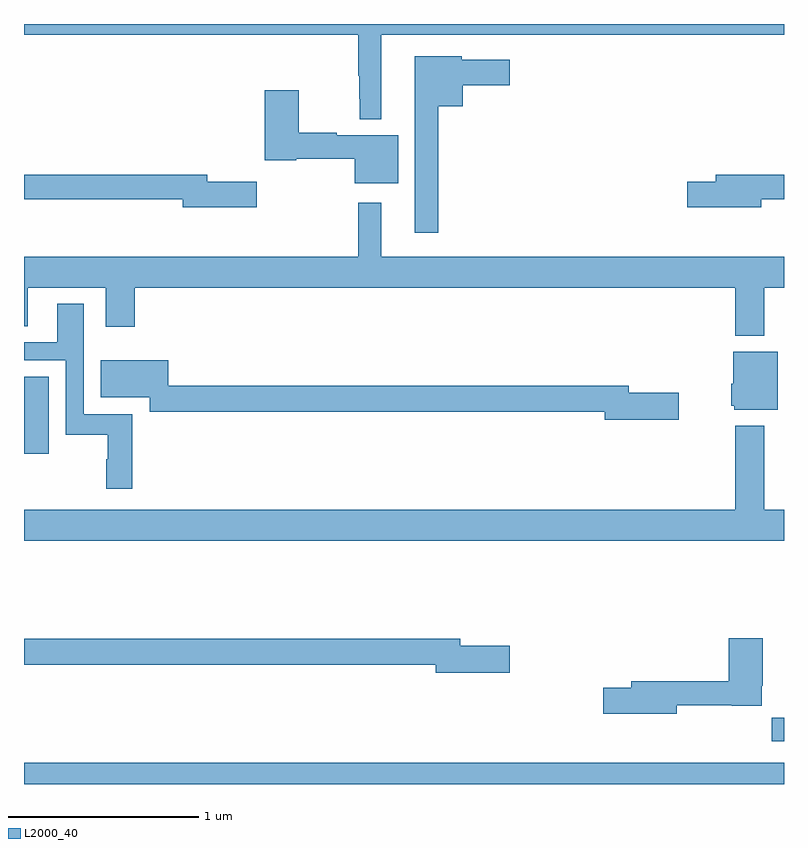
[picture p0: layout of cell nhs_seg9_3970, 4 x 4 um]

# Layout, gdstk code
import gdstk
lib = gdstk.Library(unit=1e-6, precision=1e-09)
def R(c, l, rs):  # rectangles x0, y0, x1, y1
    for r in rs: c.add(gdstk.rectangle(r[:2], r[2:], *l))
def P(c, l, *ps):  # polygons
    for p in ps: c.add(gdstk.Polygon(p, *l))
L2000_40 = (2000, 40)

nhs_seg9_3970 = lib.new_cell('nhs_seg9_3970')
R(nhs_seg9_3970, L2000_40, [(339,1168.5,343,1168.612), (342.936,1168.724,343,1168.85), (339,1170.237,339.13,1170.644)])
P(nhs_seg9_3970, L2000_40, [(340.879,1172.444),(343,1172.444),(343,1172.5),(339,1172.5),(339,1172.444),(340.758,1172.444),(340.758,1172.228),(340.765,1172.228),(340.765,1172.107),(340.768,1172.107),(340.768,1172),(340.879,1172)],
  [(341.179,1172.066),(341.308,1172.066),(341.308,1172.177),(341.557,1172.177),(341.557,1172.311),(341.304,1172.311),(341.304,1172.329),(341.057,1172.329),(341.057,1171.401),(341.179,1171.401)],
  [(340.969,1171.915),(340.646,1171.915),(340.646,1171.928),(340.446,1171.928),(340.446,1172.152),(340.268,1172.152),(340.268,1171.784),(340.434,1171.784),(340.434,1171.792),(340.742,1171.792),(340.742,1171.661),(340.969,1171.661)],
  [(342.88,1171.578),(343,1171.578),(343,1171.706),(342.641,1171.706),(342.641,1171.67),(342.492,1171.67),(342.492,1171.535),(342.88,1171.535)],
  [(340.225,1171.67),(339.964,1171.67),(339.964,1171.706),(339,1171.706),(339,1171.578),(339.836,1171.578),(339.836,1171.535),(340.225,1171.535)],
  [(342.895,1171.112),(343,1171.112),(343,1171.276),(340.879,1171.276),(340.879,1171.558),(340.758,1171.558),(340.758,1171.276),(339,1171.276),(339,1170.91),(339.019,1170.91),(339.019,1171.112),(339.431,1171.112),(339.431,1170.906),(339.584,1170.906),(339.584,1171.112),(342.743,1171.112),(342.743,1170.86),(342.895,1170.86)],
  [(339.569,1170.447),(339.315,1170.447),(339.315,1171.027),(339.176,1171.027),(339.176,1170.825),(339,1170.825),(339,1170.729),(339.219,1170.729),(339.219,1170.339),(339.441,1170.339),(339.441,1170.21),(339.433,1170.21),(339.433,1170.054),(339.569,1170.054)],
  [(342.967,1170.775),(342.734,1170.775),(342.734,1170.606),(342.722,1170.606),(342.722,1170.492),(342.738,1170.492),(342.738,1170.47),(342.967,1170.47)],
  [(342.445,1170.56),(342.184,1170.56),(342.184,1170.596),(339.759,1170.596),(339.759,1170.73),(339.404,1170.73),(339.404,1170.536),(339.663,1170.536),(339.663,1170.46),(342.056,1170.46),(342.056,1170.418),(342.445,1170.418)],
  [(343,1169.944),(342.895,1169.944),(342.895,1170.385),(342.743,1170.385),(342.743,1169.944),(339,1169.944),(339,1169.78),(343,1169.78)],
  [(342.436,1168.914),(342.726,1168.914),(342.726,1168.911),(342.882,1168.911),(342.882,1169.017),(342.888,1169.017),(342.888,1169.266),(342.71,1169.266),(342.71,1169.042),(342.197,1169.042),(342.197,1169.006),(342.048,1169.006),(342.048,1168.871),(342.436,1168.871)],
  [(341.557,1169.228),(341.296,1169.228),(341.296,1169.264),(339,1169.264),(339,1169.128),(341.168,1169.128),(341.168,1169.086),(341.557,1169.086)])

lib.write_gds('nhs_seg9_3970.gds')
